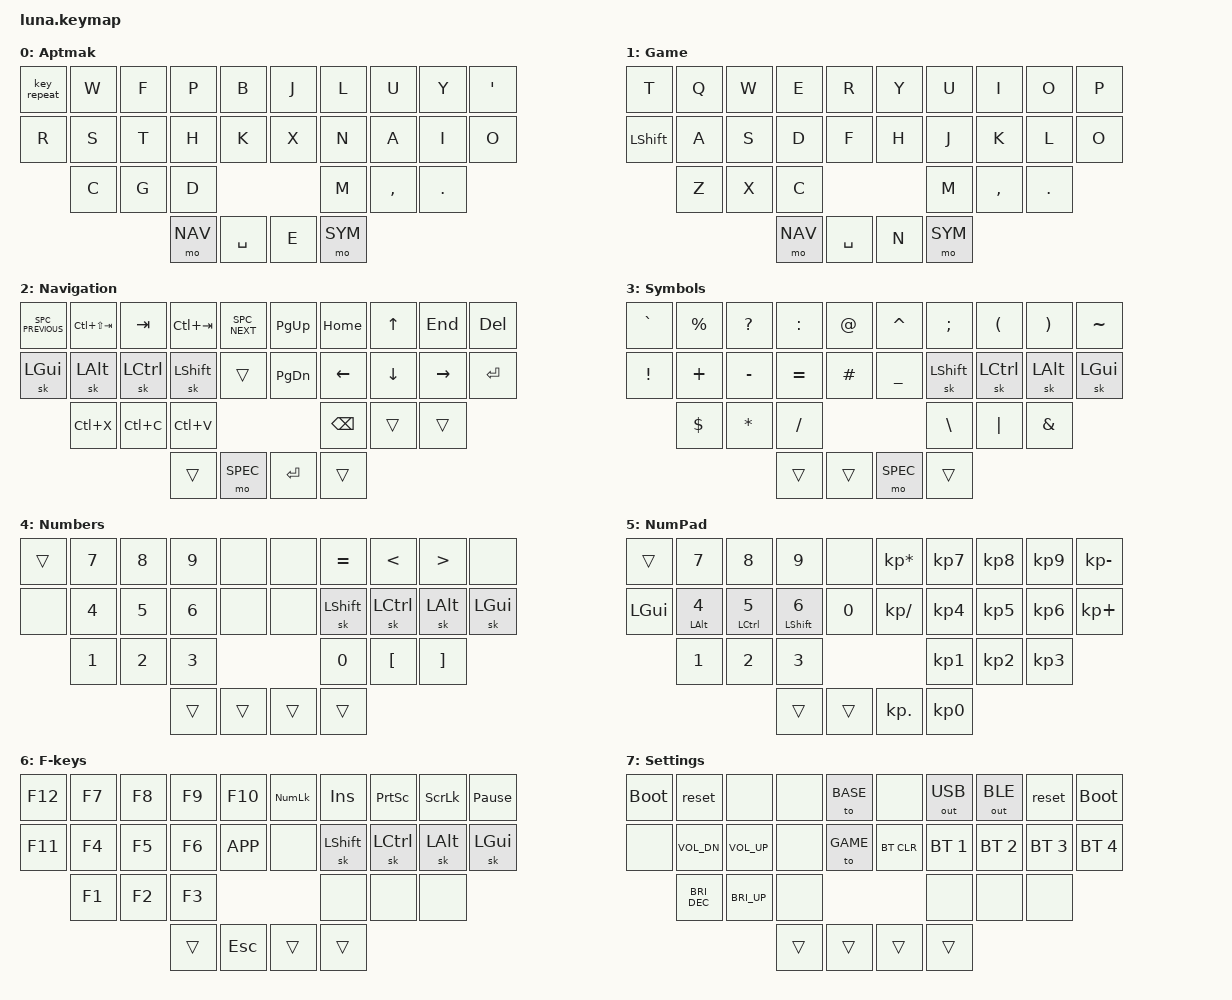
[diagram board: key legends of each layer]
/*
 * Copyright (c) 2020 The ZMK Contributors
 *
 * SPDX-License-Identifier: MIT
 */

#include <behaviors.dtsi>
#include <dt-bindings/zmk/keys.h>
#include <dt-bindings/zmk/bt.h>
#include <dt-bindings/zmk/ext_power.h>
#include <dt-bindings/zmk/outputs.h>

#define BASE  0
#define GAME  1
#define NAV   2
#define SYM   3
#define NUM   4
#define NUMPD 5
#define FUN   6
#define SPEC  7

#define CTRL_TAB LC(TAB)
#define C_S_TAB LC(LS(TAB))

#define SPC_PREVIOUS LC(LG(LEFT))
#define S_PRV SPC_PREVIOUS

#define SPC_NEXT LC(LG(RIGHT))
#define S_NXT SPC_NEXT

&caps_word {
    continue-list = <UNDERSCORE MINUS BACKSPACE>;
};

&sk {
  quick-release;
};

/ {
    #include "combos.dtsi"

    conditional_layers {
      compatible = "zmk,conditional-layers";
      tri_layer {
        if-layers = <NAV SYM>;
        then-layer = <NUM>;
      };
    };

    keymap {
        compatible = "zmk,keymap";

        base_layer {
            label = "Aptmak";
            bindings = <
                &key_repeat &kp W      &kp F      &kp P      &kp B           &kp J      &kp L       &kp U      &kp Y      &kp SQT
                &kp R       &kp S      &kp T      &kp H      &kp K           &kp X      &kp N       &kp A      &kp I      &kp O
                            &kp C      &kp G      &kp D                                 &kp M       &kp COMMA  &kp DOT
                                                  &mo NAV    &kp SPACE       &kp E      &mo SYM
            >;
        };

        game_layer {
            label = "Game";
            bindings = <
                &kp T       &kp Q      &kp W      &kp E      &kp R           &kp Y      &kp U       &kp I      &kp O      &kp P
                &kp LSHFT   &kp A      &kp S      &kp D      &kp F           &kp H      &kp J       &kp K      &kp L      &kp O
                            &kp Z      &kp X      &kp C                                 &kp M       &kp COMMA  &kp DOT
                                                  &mo NAV    &kp SPACE       &kp N      &mo SYM
            >;
        };

        nav_layer {
            label = "Navigation";
            bindings = <
               &kp S_PRV   &kp C_S_TAB  &kp TAB      &kp CTRL_TAB  &kp S_NXT      &kp PG_UP &kp HOME   &kp UP     &kp END      &kp DEL
               &sk LGUI    &sk LALT     &sk LCTL     &sk LSHFT     &trans         &kp PG_DN &kp LEFT   &kp DOWN   &kp RIGHT    &kp RET
                           &kp LC(X)    &kp LC(C)    &kp LC(V)                              &kp BSPC   &trans     &trans
                                                     &trans        &mo SPEC       &kp RET   &trans
            >;
        };

        sym_layer {
            label = "Symbols";
            bindings = <
               &kp GRAVE  &kp PRCNT   &kp QMARK   &kp COLON   &kp AT         &kp CARET   &kp SEMI    &kp LPAR   &kp RPAR   &kp TILDE
               &kp EXCL   &kp PLUS    &kp MINUS   &kp EQUAL   &kp HASH       &kp UNDER   &sk LSHFT   &sk LCTL   &sk LALT   &sk LGUI 
                          &kp DLLR    &kp ASTRK   &kp FSLH                               &kp BSLH    &kp PIPE   &kp AMPS
                                                  &trans      &trans         &mo SPEC    &trans
            >;
        };

        num_layer {
            label = "Numbers";
            bindings = <
                &trans  &kp N7  &kp N8  &kp N9  &none         &none   &kp EQUAL  &kp LT    &kp GT    &none
                &none   &kp N4  &kp N5  &kp N6  &none         &none   &sk LSHFT  &sk LCTL  &sk LALT  &sk LGUI
                        &kp N1  &kp N2  &kp N3                        &kp N0     &kp LBKT  &kp RBKT
                                        &trans  &trans        &trans  &trans
            >;
        };

        numpd_layer {
            label = "NumPad";
            bindings = <
                &trans    &kp N7      &kp N8      &kp N9       &none         &kp KP_ASTERISK &kp KP_N7   &kp KP_N8   &kp KP_N9   &kp KP_MINUS
                &kp LGUI  &mt LALT N4 &mt LCTL N5 &mt LSHFT N6 &kp N0        &kp KP_SLASH    &kp KP_N4   &kp KP_N5   &kp KP_N6   &kp KP_PLUS
                          &kp N1      &kp N2      &kp N3                                     &kp KP_N1   &kp KP_N2   &kp KP_N3
                                                  &trans       &trans        &kp KP_DOT      &kp KP_N0
            >;
        };

        fun_layer {
            label = "F-keys";
            bindings = <
               &kp F12    &kp F7    &kp F8   &kp F9   &kp F10        &kp KP_NUM  &kp INS     &kp PSCRN  &kp SLCK   &kp PAUSE_BREAK
               &kp F11    &kp F4    &kp F5   &kp F6   &kp K_APP      &none       &sk LSHFT   &sk LCTL   &sk LALT   &sk LGUI
                          &kp F1    &kp F2   &kp F3                              &none       &none      &none
                                             &trans   &kp ESC        &trans      &trans
            >;
        };

       spec_layer {
            label = "Settings";
            bindings = <
               &bootloader &reset        &none        &none   &to BASE    &none      &out OUT_USB  &out OUT_BLE  &reset        &bootloader
               &none       &kp C_VOL_DN  &kp C_VOL_UP &none   &to GAME    &bt BT_CLR &bt BT_SEL 1  &bt BT_SEL 2  &bt BT_SEL 3  &bt BT_SEL 4
                           &kp C_BRI_DEC &kp C_BRI_UP &none                          &none         &none         &none
                                                      &trans  &trans      &trans     &trans
            >;
        };
    };
};
